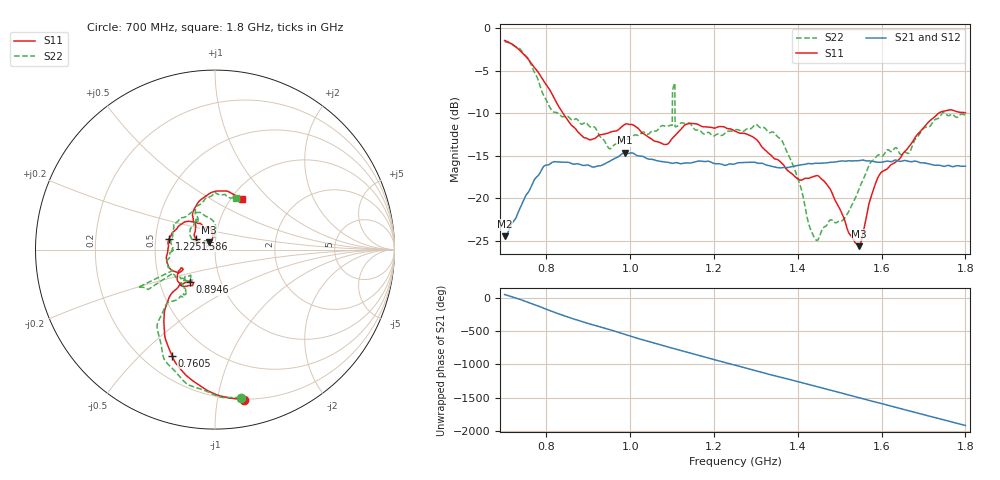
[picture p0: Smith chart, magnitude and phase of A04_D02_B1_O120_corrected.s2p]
! Created with skrf 1.9.0 (http://scikit-rf.org).
# Hz S RI R 50.0
!freq ReS11 ImS11 ReS21 ImS21 ReS12 ImS12 ReS22 ImS22
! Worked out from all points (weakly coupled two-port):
!   1601 points, 700 MHz to 1.8 GHz, reference 50 ohm
!   highest |S21| = -14.63 dB at 986.7 MHz (marker M1); lowest = -24.5 dB at 700 MHz (marker M2)
!   lowest |S11| = -25.6 dB at 1.546 GHz (marker M3), VSWR 1.11, Z = 46.6 + j3.76 ohm
!   |S11| at or under -10 dB: 839.7 MHz to 1.735 GHz (895.4 MHz wide, 69.5 % of centre)
!   |S22| runs from -24.9 to -1.5 dB; largest |S21 - S12| = 0.0035
!   S11 on the Smith chart (normalised r, x): 700 MHz: 0.20, -1.19; 760.5 MHz: 0.31, -0.63; 894.6 MHz: 0.71, -0.27; 1.225 GHz: 0.59, +0.07; 1.586 GHz: 0.80, +0.10; 1.8 GHz: 1.12, +0.70
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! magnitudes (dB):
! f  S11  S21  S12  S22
! 700 MHz  -1.4  -24.5  -24.2  -1.5
! 760.5 MHz  -3.9  -18.9  -18.8  -3.9
! 812.8 MHz  -7.7  -15.8  -15.8  -9.7
! 883.6 MHz  -12.6  -16.1  -16.0  -11.3
! 894.6 MHz  -12.9  -16.1  -16.2  -11.1
! 950.2 MHz  -12.2  -15.6  -15.6  -14.1
! 986.7 MHz  -11.3  -14.6  -14.7  -13.0
! 1.067 GHz  -13.4  -15.6  -15.5  -11.8
! 1.095 GHz  -13.3  -15.8  -15.8  -11.4
! 1.101 GHz  -12.9  -15.9  -15.8  -7.3
! 1.113 GHz  -12.3  -15.8  -15.9  -11.5
! 1.225 GHz  -11.6  -16.1  -16.1  -12.4
! 1.25 GHz  -12.1  -15.9  -15.8  -11.9
! 1.361 GHz  -15.8  -16.4  -16.4  -13.1
! 1.434 GHz  -17.5  -15.9  -15.9  -24.0
! 1.508 GHz  -22.1  -15.6  -15.6  -22.5
! 1.546 GHz  -25.6  -15.6  -15.5  -18.9
! 1.586 GHz  -18.1  -15.7  -15.7  -15.2
! 1.617 GHz  -16.3  -15.6  -15.6  -14.3
! 1.665 GHz  -13.9  -15.6  -15.6  -14.7
! 1.736 GHz  -10.0  -16.1  -16.1  -10.6
! 1.8 GHz  -9.9  -16.2  -16.2  -10.2
